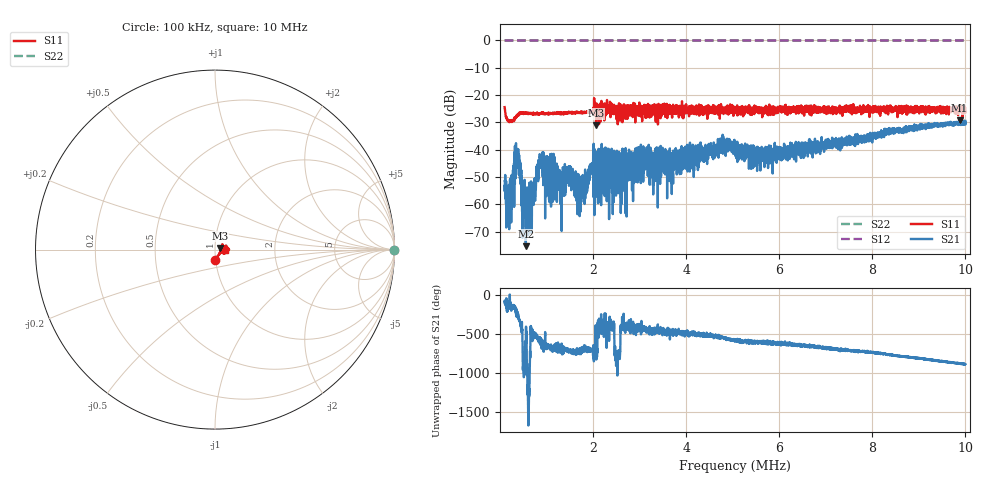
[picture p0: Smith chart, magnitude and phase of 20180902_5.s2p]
! Anritsu VNA Master:  Model: MS2026C/19
! SN:  1815009
! /card0/usr/20180902_5.s2p
! Existing Calibration Information:
! TYPE:  Current Settings,  Active Cal Settings
! TIME:  09/02/2018 12:32:31 PM,  09/02/2018 11:58:48 AM
! INTERNAL TEMP:  52.5 C,  48.8 C
! # POINTS:  4001,  4001
! START FREQ:  100.000 kHz,  100.000 kHz
! STOP FREQ:  10.000 MHz,  10.000 MHz
! SOURCE POWER:  Low,  Low
! IFBW:  500 Hz,  500 Hz
! AVG FACTOR:  1 ,  1
! REF PLANE 1:  0 mm,  0 mm
! REF PLANE 2:  0 mm,  0 mm
! CAL TYPE:  1P2P S11,S21,  1P2P S11,S21
! CAL METHOD:  SOLT,  SOLT
! CAL LINE TYPE:  Coax,  Coax
! DUT PORT 1:  N-Conn(M),  N-Conn(M)
! DUT PORT 2:  N-Conn(M),  N-Conn(M)
! CAL STATUS:  OK: Accuracy High,  --
# GHZ S RI R 50.0
! FREQ.GHZ  S11RE  S11IM  S21RE  S21IM  S12RE  S12IM  S22RE  S22IM
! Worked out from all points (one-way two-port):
!   4001 points, 100 kHz to 10 MHz, reference 50 ohm
!   highest |S21| = -29.25 dB at 9.876 MHz (marker M1); lowest = -75.2 dB at 555.4 kHz (marker M2)
!   lowest |S11| = -31.0 dB at 2.065 MHz (marker M3), VSWR 1.06, Z = 52.7 + j0.888 ohm
!   |S11| at or under -10 dB: start of sweep to end of sweep
!   |S22| runs from 0.0 to 0.0 dB; largest |S21 - S12| = 1
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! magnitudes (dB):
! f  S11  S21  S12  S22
! 100 kHz  -24.4  -53.3  0.0  0.0
! 196.5 kHz  -29.4  -56.0  0.0  0.0
! 372.2 kHz  -27.4  -43.6  0.0  0.0
! 419.3 kHz  -26.6  -46.4  0.0  0.0
! 510.9 kHz  -26.9  -58.2  0.0  0.0
! 555.4 kHz  -26.5  -75.2  0.0  0.0
! 637.1 kHz  -26.6  -62.4  0.0  0.0
! 830.1 kHz  -27.0  -50.5  0.0  0.0
! 887 kHz  -26.4  -42.9  0.0  0.0
! 1.295 MHz  -26.7  -59.7  0.0  0.0
! 1.474 MHz  -26.4  -47.2  0.0  0.0
! 1.751 MHz  -26.2  -56.0  0.0  0.0
! 2.065 MHz  -31.0  -42.4  0.0  0.0
! 2.644 MHz  -25.4  -48.8  0.0  0.0
! 3.038 MHz  -26.7  -42.8  0.0  0.0
! 3.402 MHz  -28.0  -43.3  0.0  0.0
! 5.05 MHz  -24.7  -39.0  0.0  0.0
! 5.56 MHz  -25.5  -44.8  0.0  0.0
! 6.701 MHz  -26.6  -37.5  0.0  0.0
! 8.352 MHz  -25.6  -34.4  0.0  0.0
! 9.876 MHz  -24.4  -29.2  0.0  0.0
! 10 MHz  -24.8  -29.5  0.0  0.0
